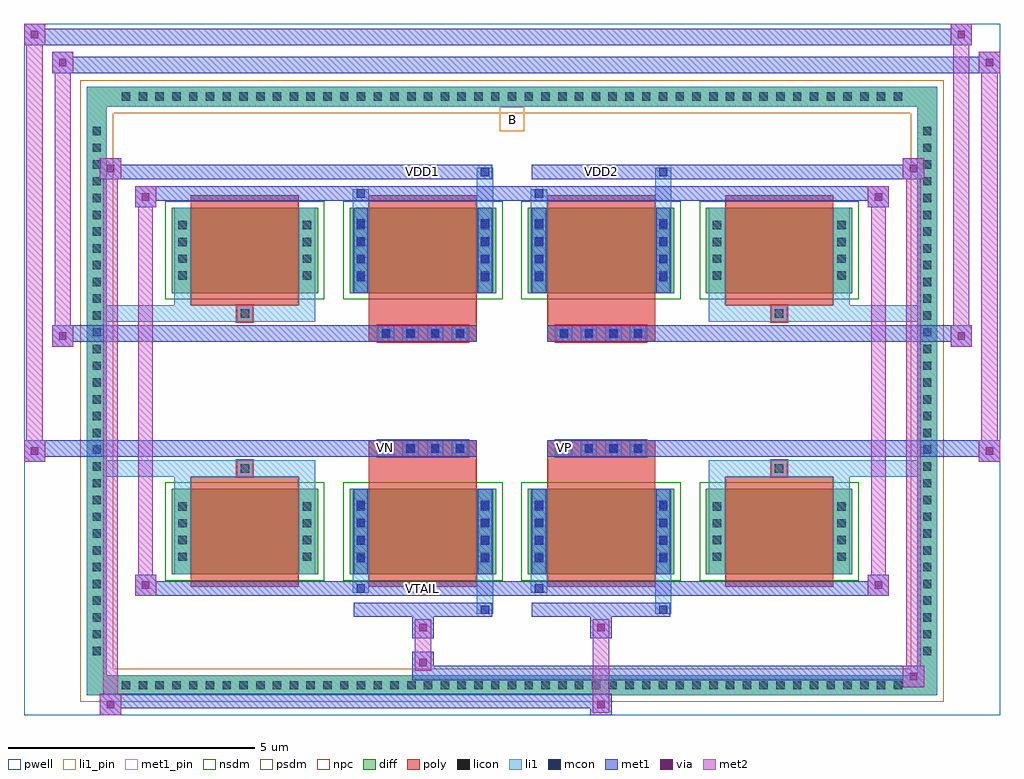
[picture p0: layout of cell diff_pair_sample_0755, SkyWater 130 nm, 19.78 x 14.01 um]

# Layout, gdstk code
import gdstk
lib = gdstk.Library(unit=1e-6, precision=5e-09)
def R(c, l, rs):  # rectangles x0, y0, x1, y1
    for r in rs: c.add(gdstk.rectangle(r[:2], r[2:], *l))
def A(c, l, x, y, w, h, nx, ny, dx, dy):  # array of equal rectangles
    R(c, l, [(x+i*dx, y+j*dy, x+i*dx+w, y+j*dy+h) for i in range(nx) for j in range(ny)])
def P(c, l, *ps):  # polygons
    for p in ps: c.add(gdstk.Polygon(p, *l))
pwell = (64, 44)
diff = (65, 20)
poly = (66, 20)
licon = (66, 44)
li1_pin = (67, 16)
li1 = (67, 20)
mcon = (67, 44)
met1_pin = (68, 16)
met1 = (68, 20)
via = (68, 44)
met2 = (69, 20)
nsdm = (93, 44)
psdm = (94, 20)
npc = (95, 20)

diff_pair_sample_0755 = lib.new_cell('diff_pair_sample_0755')
R(diff_pair_sample_0755, pwell, [(-9.89,-6.57,9.89,7.44), (-7.21,-4.76,-0.01,-0.8), (0.01,-4.76,7.21,-0.8), (-7.21,0.8,-0.01,4.76), (0.01,0.8,7.21,4.76)])
A(diff_pair_sample_0755, diff, -8.025, -6.17, 0.41, 0.41, 47, 2, 0.34, 11.93)
A(diff_pair_sample_0755, diff, -8.62, -5.475, 0.41, 0.41, 1, 32, 0, 0.34)
A(diff_pair_sample_0755, diff, 8.21, -5.475, 0.41, 0.41, 1, 32, 0, 0.34)
A(diff_pair_sample_0755, diff, -6.9, -3.715, 2.97, 1.73, 4, 2, 3.61, 5.7)
R(diff_pair_sample_0755, diff, [(-8.025,-6.17,8.025,-5.76), (-8.62,-5.475,-8.21,5.475), (8.21,-5.475,8.62,5.475), (-8.025,5.76,8.025,6.17)])
P(diff_pair_sample_0755, diff, [(8.62,6.17),(-8.62,6.17),(-8.62,-5.76),(-8.21,-5.76),(-8.21,5.76),(8.21,5.76),(8.21,-5.76),(-8.21,-5.76),(-8.62,-5.76),(-8.62,-6.17),(8.62,-6.17)])
A(diff_pair_sample_0755, poly, -6.51, -3.965, 2.19, 2.23, 4, 2, 3.61, 5.7)
A(diff_pair_sample_0755, poly, -2.72, -1.33, 0.33, 0.33, 4, 2, 0.5, 2.33)
A(diff_pair_sample_0755, poly, 0.89, -1.33, 0.33, 0.33, 4, 2, 0.5, 2.33)
R(diff_pair_sample_0755, poly, [(-5.58,-1.735,-5.25,-1.405), (-5.58,-1.735,-5.25,-1.405), (-2.9,-1.735,-0.71,-1.33), (0.71,-1.735,2.9,-1.33), (5.25,-1.735,5.58,-1.405), (5.25,-1.735,5.58,-1.405), (-2.9,-1.33,-0.71,-1), (0.71,-1.33,2.9,-1), (-2.9,1,-0.71,1.33), (0.71,1,2.9,1.33), (-2.9,1.33,-0.71,1.735), (0.71,1.33,2.9,1.735), (-5.58,1.405,-5.25,1.735), (-5.58,1.405,-5.25,1.735), (5.25,1.405,5.58,1.735), (5.25,1.405,5.58,1.735)])
A(diff_pair_sample_0755, licon, -7.905, -6.05, 0.17, 0.17, 47, 2, 0.34, 11.93)
A(diff_pair_sample_0755, licon, -8.5, -5.355, 0.17, 0.17, 1, 32, 0, 0.34)
A(diff_pair_sample_0755, licon, 8.33, -5.355, 0.17, 0.17, 1, 32, 0, 0.34)
A(diff_pair_sample_0755, licon, -6.76, -3.445, 0.17, 0.17, 1, 4, 0, 0.34)
A(diff_pair_sample_0755, licon, -4.24, -3.445, 0.17, 0.17, 1, 4, 0, 0.34)
A(diff_pair_sample_0755, licon, -3.15, -3.445, 0.17, 0.17, 1, 4, 0, 0.34)
A(diff_pair_sample_0755, licon, -0.63, -3.445, 0.17, 0.17, 1, 4, 0, 0.34)
A(diff_pair_sample_0755, licon, 0.46, -3.445, 0.17, 0.17, 1, 4, 0, 0.34)
A(diff_pair_sample_0755, licon, 2.98, -3.445, 0.17, 0.17, 1, 4, 0, 0.34)
A(diff_pair_sample_0755, licon, 4.07, -3.445, 0.17, 0.17, 1, 4, 0, 0.34)
A(diff_pair_sample_0755, licon, 6.59, -3.445, 0.17, 0.17, 1, 4, 0, 0.34)
A(diff_pair_sample_0755, licon, -2.64, -1.25, 0.17, 0.17, 4, 2, 0.5, 2.33)
A(diff_pair_sample_0755, licon, 0.97, -1.25, 0.17, 0.17, 4, 2, 0.5, 2.33)
A(diff_pair_sample_0755, licon, -6.76, 2.255, 0.17, 0.17, 1, 4, 0, 0.34)
A(diff_pair_sample_0755, licon, -4.24, 2.255, 0.17, 0.17, 1, 4, 0, 0.34)
A(diff_pair_sample_0755, licon, -3.15, 2.255, 0.17, 0.17, 1, 4, 0, 0.34)
A(diff_pair_sample_0755, licon, -0.63, 2.255, 0.17, 0.17, 1, 4, 0, 0.34)
A(diff_pair_sample_0755, licon, 0.46, 2.255, 0.17, 0.17, 1, 4, 0, 0.34)
A(diff_pair_sample_0755, licon, 2.98, 2.255, 0.17, 0.17, 1, 4, 0, 0.34)
A(diff_pair_sample_0755, licon, 4.07, 2.255, 0.17, 0.17, 1, 4, 0, 0.34)
A(diff_pair_sample_0755, licon, 6.59, 2.255, 0.17, 0.17, 1, 4, 0, 0.34)
R(diff_pair_sample_0755, licon, [(-5.5,-1.655,-5.33,-1.485), (5.33,-1.655,5.5,-1.485), (-5.5,1.485,-5.33,1.655), (5.33,1.485,5.5,1.655)])
R(diff_pair_sample_0755, li1_pin, [(-0.25,5.26,0.25,5.76)])
A(diff_pair_sample_0755, li1, -7.985, -6.13, 0.33, 0.33, 47, 2, 0.34, 11.93)
A(diff_pair_sample_0755, li1, -8.58, -5.435, 0.33, 0.33, 1, 32, 0, 0.34)
A(diff_pair_sample_0755, li1, 8.25, -5.435, 0.33, 0.33, 1, 32, 0, 0.34)
A(diff_pair_sample_0755, li1, -6.84, -3.525, 0.33, 0.33, 1, 4, 0, 0.34)
A(diff_pair_sample_0755, li1, -4.32, -3.525, 0.33, 0.33, 1, 4, 0, 0.34)
A(diff_pair_sample_0755, li1, -3.23, -3.525, 0.33, 0.33, 1, 4, 0, 0.34)
A(diff_pair_sample_0755, li1, -0.71, -3.525, 0.33, 0.33, 1, 4, 0, 0.34)
A(diff_pair_sample_0755, li1, 0.38, -3.525, 0.33, 0.33, 1, 4, 0, 0.34)
A(diff_pair_sample_0755, li1, 2.9, -3.525, 0.33, 0.33, 1, 4, 0, 0.34)
A(diff_pair_sample_0755, li1, 3.99, -3.525, 0.33, 0.33, 1, 4, 0, 0.34)
A(diff_pair_sample_0755, li1, 6.51, -3.525, 0.33, 0.33, 1, 4, 0, 0.34)
A(diff_pair_sample_0755, li1, -3.15, -3.475, 0.17, 0.17, 1, 4, 0, 0.36)
A(diff_pair_sample_0755, li1, -0.63, -3.475, 0.17, 0.17, 1, 4, 0, 0.36)
A(diff_pair_sample_0755, li1, 0.46, -3.475, 0.17, 0.17, 1, 4, 0, 0.36)
A(diff_pair_sample_0755, li1, 2.98, -3.475, 0.17, 0.17, 1, 4, 0, 0.36)
A(diff_pair_sample_0755, li1, -2.72, -1.33, 0.33, 0.33, 4, 2, 0.5, 2.33)
A(diff_pair_sample_0755, li1, 0.89, -1.33, 0.33, 0.33, 4, 2, 0.5, 2.33)
A(diff_pair_sample_0755, li1, -6.84, 2.175, 0.33, 0.33, 1, 4, 0, 0.34)
A(diff_pair_sample_0755, li1, -4.32, 2.175, 0.33, 0.33, 1, 4, 0, 0.34)
A(diff_pair_sample_0755, li1, -3.23, 2.175, 0.33, 0.33, 1, 4, 0, 0.34)
A(diff_pair_sample_0755, li1, -0.71, 2.175, 0.33, 0.33, 1, 4, 0, 0.34)
A(diff_pair_sample_0755, li1, 0.38, 2.175, 0.33, 0.33, 1, 4, 0, 0.34)
A(diff_pair_sample_0755, li1, 2.9, 2.175, 0.33, 0.33, 1, 4, 0, 0.34)
A(diff_pair_sample_0755, li1, 3.99, 2.175, 0.33, 0.33, 1, 4, 0, 0.34)
A(diff_pair_sample_0755, li1, 6.51, 2.175, 0.33, 0.33, 1, 4, 0, 0.34)
A(diff_pair_sample_0755, li1, -3.15, 2.225, 0.17, 0.17, 1, 4, 0, 0.36)
A(diff_pair_sample_0755, li1, -0.63, 2.225, 0.17, 0.17, 1, 4, 0, 0.36)
A(diff_pair_sample_0755, li1, 0.46, 2.225, 0.17, 0.17, 1, 4, 0, 0.36)
A(diff_pair_sample_0755, li1, 2.98, 2.225, 0.17, 0.17, 1, 4, 0, 0.36)
R(diff_pair_sample_0755, li1, [(-8.62,-6.17,-8.21,-5.76), (-8.62,-6.17,-8.21,-5.76), (-8.21,-6.17,8.21,-5.76), (8.21,-6.17,8.62,-5.76), (8.21,-6.17,8.62,-5.76), (-8.62,-5.76,-8.21,5.76), (8.21,-5.76,8.62,5.76), (-0.71,-4.52,-0.38,-3.715), (-0.63,-4.52,-0.46,-4.35), (2.9,-4.52,3.23,-3.715), (2.98,-4.52,3.15,-4.35), (-3.23,-4.09,-2.9,-3.715), (-3.15,-4.09,-2.98,-3.92), (0.38,-4.09,0.71,-3.715), (0.46,-4.09,0.63,-3.92), (-6.84,-3.715,-6.51,-1.985), (-4.32,-3.715,-3.99,-1.985), (-3.23,-3.715,-2.9,-1.985), (-0.71,-3.715,-0.38,-1.985), (0.38,-3.715,0.71,-1.985), (2.9,-3.715,3.23,-1.985), (3.99,-3.715,4.32,-1.985), (6.51,-3.715,6.84,-1.985), (-3.15,-3.475,-2.98,-2.225), (-0.63,-3.475,-0.46,-2.225), (0.46,-3.475,0.63,-2.225), (2.98,-3.475,3.15,-2.225), (-6.84,-1.985,-6.51,-1.405), (-4.32,-1.985,-3.99,-1.405), (3.99,-1.985,4.32,-1.405), (6.51,-1.985,6.84,-1.405), (-8.62,-1.735,-5.58,-1.405), (-6.84,-1.735,-5.58,-1.405), (-5.58,-1.735,-5.25,-1.405), (-5.25,-1.735,-3.99,-1.405), (3.99,-1.735,5.25,-1.405), (5.25,-1.735,5.58,-1.405), (5.25,-1.735,8.62,-1.405), (5.58,-1.735,6.84,-1.405), (-8.62,1.405,-5.58,1.735), (-6.84,1.405,-5.58,1.735), (-6.84,1.405,-6.51,1.985), (-5.58,1.405,-5.25,1.735), (-5.25,1.405,-3.99,1.735), (-4.32,1.405,-3.99,1.985), (3.99,1.405,5.25,1.735), (3.99,1.405,4.32,1.985), (5.25,1.405,5.58,1.735), (5.25,1.405,8.62,1.735), (5.58,1.405,6.84,1.735), (6.51,1.405,6.84,1.985), (-6.84,1.985,-6.51,3.715), (-4.32,1.985,-3.99,3.715), (-3.23,1.985,-2.9,3.715), (-0.71,1.985,-0.38,3.715), (0.38,1.985,0.71,3.715), (2.9,1.985,3.23,3.715), (3.99,1.985,4.32,3.715), (6.51,1.985,6.84,3.715), (-3.15,2.225,-2.98,3.475), (-0.63,2.225,-0.46,3.475), (0.46,2.225,0.63,3.475), (2.98,2.225,3.15,3.475), (-3.23,3.715,-2.9,4.09), (-0.71,3.715,-0.38,4.52), (0.38,3.715,0.71,4.09), (2.9,3.715,3.23,4.52), (-3.15,3.92,-2.98,4.09), (0.46,3.92,0.63,4.09), (-0.63,4.35,-0.46,4.52), (2.98,4.35,3.15,4.52), (-8.62,5.76,-8.21,6.17), (-8.62,5.76,-8.21,6.17), (-8.21,5.76,8.21,6.17), (8.21,5.76,8.62,6.17), (8.21,5.76,8.62,6.17)])
A(diff_pair_sample_0755, mcon, -3.15, -3.475, 0.17, 0.17, 1, 4, 0, 0.36)
A(diff_pair_sample_0755, mcon, -0.63, -3.475, 0.17, 0.17, 1, 4, 0, 0.36)
A(diff_pair_sample_0755, mcon, 0.46, -3.475, 0.17, 0.17, 1, 4, 0, 0.36)
A(diff_pair_sample_0755, mcon, 2.98, -3.475, 0.17, 0.17, 1, 4, 0, 0.36)
A(diff_pair_sample_0755, mcon, -2.64, -1.25, 0.17, 0.17, 4, 2, 0.5, 2.33)
A(diff_pair_sample_0755, mcon, 0.97, -1.25, 0.17, 0.17, 4, 2, 0.5, 2.33)
A(diff_pair_sample_0755, mcon, -3.15, 2.225, 0.17, 0.17, 1, 4, 0, 0.36)
A(diff_pair_sample_0755, mcon, -0.63, 2.225, 0.17, 0.17, 1, 4, 0, 0.36)
A(diff_pair_sample_0755, mcon, 0.46, 2.225, 0.17, 0.17, 1, 4, 0, 0.36)
A(diff_pair_sample_0755, mcon, 2.98, 2.225, 0.17, 0.17, 1, 4, 0, 0.36)
R(diff_pair_sample_0755, mcon, [(-0.63,-4.52,-0.46,-4.35), (2.98,-4.52,3.15,-4.35), (-3.15,-4.09,-2.98,-3.92), (0.46,-4.09,0.63,-3.92), (-3.15,3.92,-2.98,4.09), (0.46,3.92,0.63,4.09), (-0.63,4.35,-0.46,4.52), (2.98,4.35,3.15,4.52)])
R(diff_pair_sample_0755, met1_pin, [(-1.94,-4.13,-1.67,-3.86), (-2.69,-1.29,-2.42,-1.02), (0.92,-1.29,1.19,-1.02), (-1.94,4.31,-1.67,4.58), (1.67,4.31,1.94,4.58)])
A(diff_pair_sample_0755, met1, -3.21, -3.535, 0.29, 0.29, 1, 4, 0, 0.36)
A(diff_pair_sample_0755, met1, -0.69, -3.535, 0.29, 0.29, 1, 4, 0, 0.36)
A(diff_pair_sample_0755, met1, 0.4, -3.535, 0.29, 0.29, 1, 4, 0, 0.36)
A(diff_pair_sample_0755, met1, 2.92, -3.535, 0.29, 0.29, 1, 4, 0, 0.36)
A(diff_pair_sample_0755, met1, -2.7, -1.31, 0.29, 0.29, 4, 2, 0.5, 2.33)
A(diff_pair_sample_0755, met1, 0.91, -1.31, 0.29, 0.29, 4, 2, 0.5, 2.33)
A(diff_pair_sample_0755, met1, -3.21, 2.165, 0.29, 0.29, 1, 4, 0, 0.36)
A(diff_pair_sample_0755, met1, -0.69, 2.165, 0.29, 0.29, 1, 4, 0, 0.36)
A(diff_pair_sample_0755, met1, 0.4, 2.165, 0.29, 0.29, 1, 4, 0, 0.36)
A(diff_pair_sample_0755, met1, 2.92, 2.165, 0.29, 0.29, 1, 4, 0, 0.36)
R(diff_pair_sample_0755, met1, [(-8.35,-6.57,-7.92,-6.14), (1.59,-6.57,2.02,-6.14), (-8.35,-6.43,2.02,-6.14), (7.92,-6,8.35,-5.57), (-2.02,-5.86,8.35,-5.57), (-2.02,-5.72,-1.59,-5.29), (-2.02,-5.01,-1.59,-4.58), (1.59,-5.01,2.02,-4.58), (-3.21,-4.58,-0.4,-4.29), (-0.69,-4.58,-0.4,-4.29), (0.4,-4.58,3.21,-4.29), (2.92,-4.58,3.21,-4.29), (-7.64,-4.15,-7.21,-3.72), (-7.64,-4.15,-3.21,-3.86), (-3.21,-4.15,-2.92,-3.86), (-3.21,-4.15,-0.4,-3.86), (-0.4,-4.15,0.4,-3.86), (0.4,-4.15,0.69,-3.86), (0.4,-4.15,3.21,-3.86), (3.21,-4.15,7.64,-3.86), (7.21,-4.15,7.64,-3.72), (-3.21,-3.715,-2.92,-1.985), (-0.69,-3.715,-0.4,-1.985), (0.4,-3.715,0.69,-1.985), (2.92,-3.715,3.21,-1.985), (-9.89,-1.43,-9.46,-1), (9.46,-1.43,9.89,-1), (-9.89,-1.33,-0.71,-1), (-2.9,-1.33,-0.71,-1), (0.71,-1.33,2.9,-1), (0.71,-1.33,9.89,-1), (-9.32,0.9,-8.89,1.33), (8.89,0.9,9.32,1.33), (-9.32,1,-2.9,1.33), (-2.9,1,-0.71,1.33), (0.71,1,2.9,1.33), (2.9,1,9.32,1.33), (-3.21,1.985,-2.92,3.715), (-0.69,1.985,-0.4,3.715), (0.4,1.985,0.69,3.715), (2.92,1.985,3.21,3.715), (-7.64,3.72,-7.21,4.15), (7.21,3.72,7.64,4.15), (-7.64,3.86,-3.21,4.15), (-3.21,3.86,-2.92,4.15), (-3.21,3.86,-0.4,4.15), (-0.4,3.86,0.4,4.15), (0.4,3.86,0.69,4.15), (0.4,3.86,3.21,4.15), (3.21,3.86,7.64,4.15), (-8.35,4.29,-7.92,4.72), (-8.35,4.29,-3.21,4.58), (-3.21,4.29,-0.4,4.58), (-0.69,4.29,-0.4,4.58), (0.4,4.29,3.21,4.58), (2.92,4.29,3.21,4.58), (3.21,4.29,8.35,4.58), (7.92,4.29,8.35,4.72), (-9.32,6.44,-8.89,6.87), (-9.32,6.44,-7.21,6.77), (-7.21,6.44,7.21,6.77), (7.21,6.44,9.89,6.77), (9.46,6.44,9.89,6.87), (-9.89,7.01,-9.46,7.44), (-9.89,7.01,-7.21,7.34), (-7.21,7.01,7.21,7.34), (7.21,7.01,9.32,7.34), (8.89,7.01,9.32,7.44)])
R(diff_pair_sample_0755, via, [(-8.21,-6.43,-8.06,-6.28), (1.73,-6.43,1.88,-6.28), (8.06,-5.86,8.21,-5.71), (-1.88,-5.58,-1.73,-5.43), (-1.88,-4.87,-1.73,-4.72), (1.73,-4.87,1.88,-4.72), (-7.5,-4.01,-7.35,-3.86), (7.35,-4.01,7.5,-3.86), (-9.75,-1.29,-9.6,-1.14), (9.6,-1.29,9.75,-1.14), (-9.18,1.04,-9.03,1.19), (9.03,1.04,9.18,1.19), (-7.5,3.86,-7.35,4.01), (7.35,3.86,7.5,4.01), (-8.21,4.43,-8.06,4.58), (8.06,4.43,8.21,4.58), (-9.18,6.58,-9.03,6.73), (9.6,6.58,9.75,6.73), (-9.75,7.15,-9.6,7.3), (9.03,7.15,9.18,7.3)])
R(diff_pair_sample_0755, met2, [(-8.35,-6.57,-7.92,-6.14), (-8.28,-6.57,-7.99,4.72), (-7.99,-6.57,-7.92,-6.14), (-8.3,-6.52,-7.97,-6.19), (1.64,-6.52,1.97,-6.19), (1.64,-6.19,1.97,-4.96), (7.92,-6,8.35,-5.57), (7.99,-6,8.28,4.72), (8.28,-6,8.35,-5.57), (7.97,-5.95,8.3,-5.62), (-1.97,-5.67,-1.64,-5.34), (-1.97,-5.34,-1.64,-4.96), (-1.97,-4.96,-1.64,-4.63), (1.64,-4.96,1.97,-4.63), (-7.64,-4.15,-7.21,-3.72), (-7.57,-4.15,-7.28,4.15), (-7.28,-4.15,-7.21,-3.72), (7.21,-4.15,7.64,-3.72), (7.28,-4.15,7.57,4.15), (7.57,-4.15,7.64,-3.72), (-7.59,-4.1,-7.26,-3.77), (7.26,-4.1,7.59,-3.77), (-9.89,-1.43,-9.46,-1), (-9.84,-1.43,-9.51,7.44), (-9.51,-1.43,-9.46,-1), (9.46,-1.43,9.89,-1), (9.51,-1.43,9.84,6.87), (9.84,-1.43,9.89,-1), (-9.84,-1.38,-9.51,-1.05), (9.51,-1.38,9.84,-1.05), (-9.32,0.9,-8.89,1.33), (-9.27,0.9,-8.94,6.87), (-8.94,0.9,-8.89,1.33), (8.89,0.9,9.32,1.33), (8.94,0.9,9.27,7.44), (9.27,0.9,9.32,1.33), (-9.27,0.95,-8.94,1.28), (8.94,0.95,9.27,1.28), (-7.64,3.72,-7.21,4.15), (-7.28,3.72,-7.21,4.15), (7.21,3.72,7.64,4.15), (7.57,3.72,7.64,4.15), (-7.59,3.77,-7.26,4.1), (7.26,3.77,7.59,4.1), (-8.35,4.29,-7.92,4.72), (-7.99,4.29,-7.92,4.72), (7.92,4.29,8.35,4.72), (8.28,4.29,8.35,4.72), (-8.3,4.34,-7.97,4.67), (7.97,4.34,8.3,4.67), (-9.32,6.44,-8.89,6.87), (-8.94,6.44,-8.89,6.87), (9.46,6.44,9.89,6.87), (9.84,6.44,9.89,6.87), (-9.27,6.49,-8.94,6.82), (9.51,6.49,9.84,6.82), (-9.89,7.01,-9.46,7.44), (-9.51,7.01,-9.46,7.44), (8.89,7.01,9.32,7.44), (9.27,7.01,9.32,7.44), (-9.84,7.06,-9.51,7.39), (8.94,7.06,9.27,7.39)])
A(diff_pair_sample_0755, nsdm, -7.03, -3.845, 3.23, 1.99, 4, 2, 3.61, 5.7)
P(diff_pair_sample_0755, psdm, [(8.75,6.3),(-8.75,6.3),(-8.75,-5.63),(-8.08,-5.63),(-8.08,5.63),(8.08,5.63),(8.08,-5.63),(-8.08,-5.63),(-8.75,-5.63),(-8.75,-6.3),(8.75,-6.3)])
A(diff_pair_sample_0755, npc, -2.74, -1.35, 0.37, 0.37, 4, 2, 0.5, 2.33)
A(diff_pair_sample_0755, npc, 0.87, -1.35, 0.37, 0.37, 4, 2, 0.5, 2.33)
R(diff_pair_sample_0755, npc, [(-5.6,-1.755,-5.23,-1.385), (5.23,-1.755,5.6,-1.385), (-2.74,-1.35,-1.87,-0.98), (-2.74,-1.35,-1.87,-0.98), (-2.24,-1.35,-1.37,-0.98), (-2.24,-1.35,-1.37,-0.98), (-1.74,-1.35,-0.87,-0.98), (-1.74,-1.35,-0.87,-0.98), (0.87,-1.35,1.74,-0.98), (0.87,-1.35,1.74,-0.98), (1.37,-1.35,2.24,-0.98), (1.37,-1.35,2.24,-0.98), (1.87,-1.35,2.74,-0.98), (1.87,-1.35,2.74,-0.98), (-2.74,0.98,-1.87,1.35), (-2.74,0.98,-1.87,1.35), (-2.24,0.98,-1.37,1.35), (-2.24,0.98,-1.37,1.35), (-1.74,0.98,-0.87,1.35), (-1.74,0.98,-0.87,1.35), (0.87,0.98,1.74,1.35), (0.87,0.98,1.74,1.35), (1.37,0.98,2.24,1.35), (1.37,0.98,2.24,1.35), (1.87,0.98,2.74,1.35), (1.87,0.98,2.74,1.35), (-5.6,1.385,-5.23,1.755), (5.23,1.385,5.6,1.755)])
diff_pair_sample_0755.add(gdstk.Label('VTAIL', (-1.805,-3.995), layer=68, texttype=5))
diff_pair_sample_0755.add(gdstk.Label('VN', (-2.555,-1.155), layer=68, texttype=5))
diff_pair_sample_0755.add(gdstk.Label('VP', (1.055,-1.155), layer=68, texttype=5))
diff_pair_sample_0755.add(gdstk.Label('B', (0,5.51), layer=67, texttype=5))
diff_pair_sample_0755.add(gdstk.Label('VDD2', (1.805,4.445), layer=68, texttype=5))
diff_pair_sample_0755.add(gdstk.Label('VDD1', (-1.805,4.445), layer=68, texttype=5))

lib.write_gds('diff_pair_sample_0755.gds')
